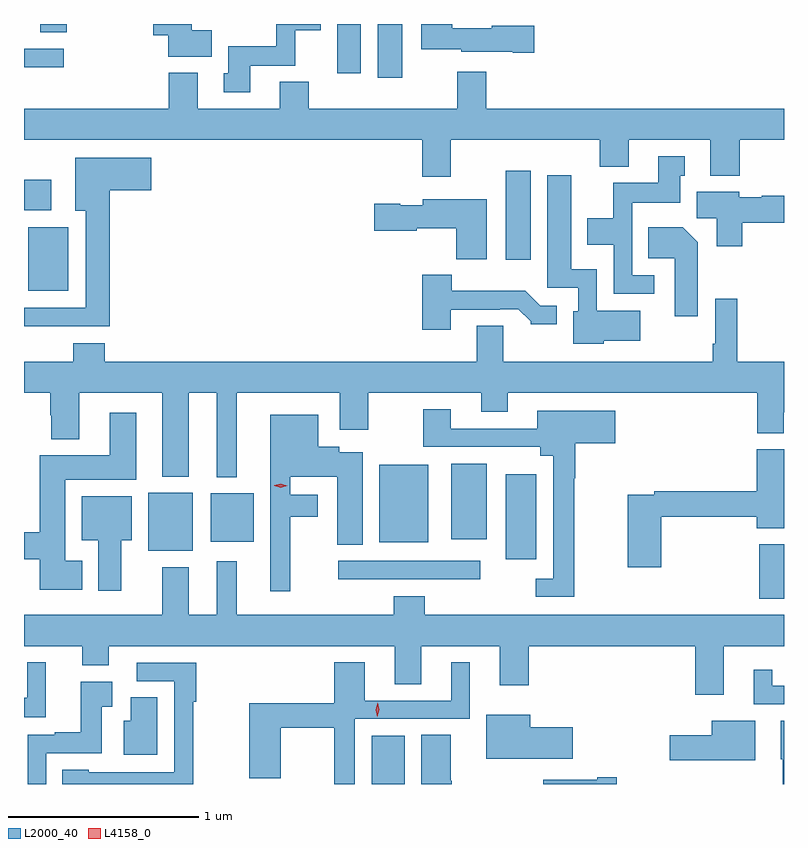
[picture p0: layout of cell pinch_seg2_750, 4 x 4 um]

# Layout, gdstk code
import gdstk
lib = gdstk.Library(unit=1e-6, precision=1e-09)
def R(c, l, rs):  # rectangles x0, y0, x1, y1
    for r in rs: c.add(gdstk.rectangle(r[:2], r[2:], *l))
def P(c, l, *ps):  # polygons
    for p in ps: c.add(gdstk.Polygon(p, *l))
L2000_40 = (2000, 40)
L4158_0 = (4158, 0)

pinch_seg2_750 = lib.new_cell('pinch_seg2_750')
R(pinch_seg2_750, L2000_40, [(647.285,650.906,647.458,651.16), (649.325,651.882,649.454,652.167), (647.109,651.984,647.854,652.08), (647.99,652.089,648.151,652.537), (646.109,652.133,646.342,652.438), (647.324,652.178,647.581,652.585), (646.436,652.181,646.663,652.435), (647.702,652.193,647.89,652.591), (645.476,653.501,645.688,653.836), (647.99,653.664,648.121,654.133), (645.454,653.925,645.598,654.085), (647.315,654.624,647.446,654.906), (647.102,654.648,647.227,654.906), (645.454,654.679,645.664,654.777), (645.539,654.862,645.678,654.906)])
P(pinch_seg2_750, L2000_40, [(646.645,654.686),(646.881,654.686),(646.881,654.872),(647.017,654.872),(647.017,654.906),(646.782,654.906),(646.782,654.79),(646.529,654.79),(646.529,654.648),(646.505,654.648),(646.505,654.546),(646.645,654.546)],
  [(648.139,654.896),(647.916,654.896),(647.916,654.883),(647.708,654.883),(647.708,654.906),(647.546,654.906),(647.546,654.773),(647.754,654.773),(647.754,654.761),(648.026,654.761),(648.026,654.754),(648.139,654.754)],
  [(646.441,654.872),(646.336,654.872),(646.336,654.906),(646.133,654.906),(646.133,654.848),(646.214,654.848),(646.214,654.734),(646.441,654.734)],
  [(647.701,654.296),(648.485,654.296),(648.485,654.155),(648.637,654.155),(648.637,654.296),(649.067,654.296),(649.067,654.107),(649.22,654.107),(649.22,654.296),(649.454,654.296),(649.454,654.46),(647.888,654.46),(647.888,654.655),(647.735,654.655),(647.735,654.46),(646.952,654.46),(646.952,654.601),(646.799,654.601),(646.799,654.46),(646.369,654.46),(646.369,654.649),(646.217,654.649),(646.217,654.46),(645.454,654.46),(645.454,654.296),(647.549,654.296),(647.549,654.102),(647.701,654.102)],
  [(648.772,653.583),(648.654,653.583),(648.654,653.966),(648.907,653.966),(648.907,654.108),(648.931,654.108),(648.931,654.211),(648.791,654.211),(648.791,654.07),(648.556,654.07),(648.556,653.884),(648.419,653.884),(648.419,653.744),(648.558,653.744),(648.558,653.487),(648.772,653.487)],
  [(645.905,654.032),(646.123,654.032),(646.123,654.202),(645.725,654.202),(645.725,653.924),(645.779,653.924),(645.779,653.412),(645.454,653.412),(645.454,653.315),(645.905,653.315)],
  [(648.504,653.24),(648.697,653.24),(648.697,653.398),(648.468,653.398),(648.468,653.614),(648.334,653.614),(648.334,654.109),(648.209,654.109),(648.209,653.517),(648.372,653.517),(648.372,653.394),(648.344,653.394),(648.344,653.222),(648.504,653.222)],
  [(649.235,653.861),(649.454,653.861),(649.454,654.003),(649.338,654.003),(649.338,653.995),(649.218,653.995),(649.218,654.022),(648.995,654.022),(648.995,653.884),(649.1,653.884),(649.1,653.736),(649.235,653.736)],
  [(647.89,653.983),(647.552,653.983),(647.552,653.953),(647.433,653.953),(647.433,653.961),(647.298,653.961),(647.298,653.819),(647.52,653.819),(647.52,653.831),(647.728,653.831),(647.728,653.669),(647.89,653.669)],
  [(649,653.758),(648.922,653.836),(648.739,653.836),(648.739,653.672),(648.878,653.672),(648.878,653.367),(649,653.367)],
  [(647.701,653.403),(647.957,653.403),(647.957,653.406),(648.056,653.406),(648.12,653.342),(648.12,653.327),(648.259,653.327),(648.259,653.424),(648.171,653.424),(648.093,653.503),(647.704,653.503),(647.704,653.587),(647.549,653.587),(647.549,653.298),(647.701,653.298)],
  [(646.573,652.964),(647.117,652.964),(647.117,652.77),(647.265,652.77),(647.265,652.964),(647.861,652.964),(647.861,652.865),(648.001,652.865),(648.001,652.964),(649.313,652.964),(649.313,652.753),(649.453,652.753),(649.453,652.863),(649.454,652.863),(649.454,653.128),(649.208,653.128),(649.208,653.461),(649.092,653.461),(649.092,653.224),(649.08,653.224),(649.08,653.128),(647.977,653.128),(647.977,653.318),(647.837,653.318),(647.837,653.128),(645.878,653.128),(645.878,653.227),(645.713,653.227),(645.713,653.128),(645.454,653.128),(645.454,652.964),(645.593,652.964),(645.593,652.848),(645.598,652.848),(645.598,652.721),(645.745,652.721),(645.745,652.964),(646.181,652.964),(646.181,652.523),(646.321,652.523),(646.321,652.964),(646.469,652.964),(646.469,652.52),(646.573,652.52)],
  [(648.349,652.516),(648.356,652.516),(648.356,652.7),(648.565,652.7),(648.565,652.87),(648.155,652.87),(648.155,652.776),(647.701,652.776),(647.701,652.879),(647.554,652.879),(647.554,652.68),(648.17,652.68),(648.17,652.634),(648.24,652.634),(648.24,651.987),(648.147,651.987),(648.147,651.891),(648.349,651.891)],
  [(645.76,652.081),(645.67,652.081),(645.67,652.508),(646.045,652.508),(646.045,652.861),(645.905,652.861),(645.905,652.636),(645.536,652.636),(645.536,652.232),(645.454,652.232),(645.454,652.09),(645.536,652.09),(645.536,651.929),(645.76,651.929)],
  [(646.855,652.312),(646.999,652.312),(646.999,652.428),(646.855,652.428),(646.855,652.523),(647.102,652.523),(647.102,652.165),(647.236,652.165),(647.236,652.651),(647.113,652.651),(647.113,652.681),(647.002,652.681),(647.002,652.849),(646.751,652.849),(646.751,651.921),(646.855,651.921)],
  [(648.809,652.312),(649.31,652.312),(649.31,652.252),(649.454,652.252),(649.454,652.668),(649.31,652.668),(649.31,652.448),(648.772,652.448),(648.772,652.428),(648.631,652.428),(648.631,652.047),(648.809,652.047)],
  [(645.967,652.19),(646.021,652.19),(646.021,652.42),(645.758,652.42),(645.758,652.19),(645.845,652.19),(645.845,651.924),(645.967,651.924)],
  [(649.138,651.632),(649.454,651.632),(649.454,651.796),(647.564,651.796),(647.564,651.895),(647.399,651.895),(647.399,651.796),(646.573,651.796),(646.573,652.078),(646.469,652.078),(646.469,651.796),(646.321,651.796),(646.321,652.048),(646.181,652.048),(646.181,651.796),(645.454,651.796),(645.454,651.632),(645.761,651.632),(645.761,651.53),(645.901,651.53),(645.901,651.632),(647.405,651.632),(647.405,651.43),(647.545,651.43),(647.545,651.632),(647.957,651.632),(647.957,651.426),(648.11,651.426),(648.11,651.632),(648.986,651.632),(648.986,651.375),(649.138,651.375)],
  [(647.196,651.249),(647.8,651.249),(647.8,651.547),(647.702,651.547),(647.702,651.345),(647.248,651.345),(647.248,651.547),(647.087,651.547),(647.087,651.331),(646.64,651.331),(646.64,650.937),(646.806,650.937),(646.806,651.202),(647.088,651.202),(647.088,650.906),(647.196,650.906)],
  [(645.569,651.547),(645.47,651.547),(645.47,651.359),(645.454,651.359),(645.454,651.258),(645.569,651.258)],
  [(646.346,651.34),(646.361,651.34),(646.361,651.543),(646.047,651.543),(646.047,651.447),(646.245,651.447),(646.245,650.967),(645.795,650.967),(645.795,650.98),(645.655,650.98),(645.655,650.906),(646.346,650.906)],
  [(649.454,651.423),(649.393,651.423),(649.393,651.508),(649.295,651.508),(649.295,651.327),(649.454,651.327)],
  [(645.57,651.069),(645.862,651.069),(645.862,651.313),(645.919,651.313),(645.919,651.445),(645.752,651.445),(645.752,651.178),(645.617,651.178),(645.617,651.165),(645.474,651.165),(645.474,650.906),(645.57,650.906)],
  [(646.156,651.362),(646.016,651.362),(646.016,651.238),(645.98,651.238),(645.98,651.059),(646.156,651.059)],
  [(648.343,651.204),(648.118,651.204),(648.118,651.271),(647.888,651.271),(647.888,651.038),(648.343,651.038)],
  [(649.303,651.238),(649.073,651.238),(649.073,651.162),(648.852,651.162),(648.852,651.032),(649.303,651.032)],
  [(649.454,651.238),(649.436,651.238),(649.436,651.036),(649.448,651.036),(649.448,650.906),(649.454,650.906)],
  [(647.704,650.922),(647.701,650.922),(647.701,651.164),(647.546,651.164),(647.546,650.906),(647.704,650.906)],
  [(648.574,650.942),(648.47,650.942),(648.47,650.929),(648.186,650.929),(648.186,650.906),(648.574,650.906)])
P(pinch_seg2_750, L4158_0, [(647.313,651.261),(647.305,651.297),(647.316,651.333),(647.316,651.333),(647.317,651.333),(647.325,651.296),(647.314,651.261),(647.314,651.261)],
  [(646.805,652.466),(646.771,652.477),(646.771,652.477),(646.771,652.478),(646.805,652.486),(646.839,652.476),(646.839,652.475),(646.839,652.475)])

lib.write_gds('pinch_seg2_750.gds')
